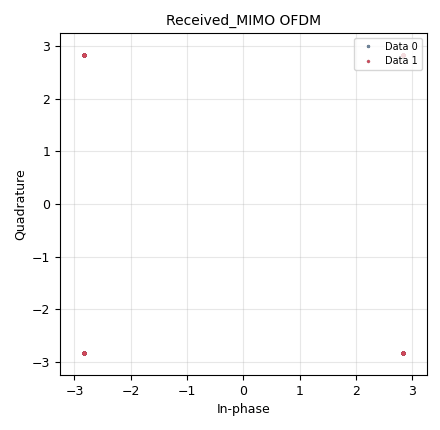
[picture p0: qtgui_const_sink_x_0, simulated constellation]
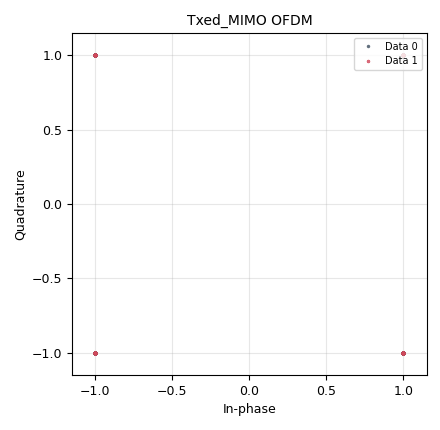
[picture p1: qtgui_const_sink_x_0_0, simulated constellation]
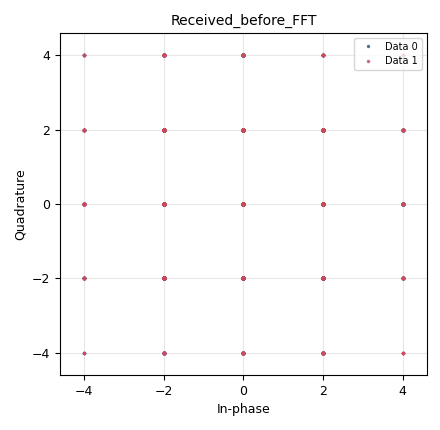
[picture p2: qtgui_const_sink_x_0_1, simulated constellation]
options:
  parameters:
    author: nidhi
    generate_options: qt_gui
    id: MIMO_2x2OFDM_svd
    output_language: python
    title: MIMO_2x2OFDM_svd
  states: {}

blocks:
- name: Nc
  id: variable
  parameters:
    value: '2'
  states: {}
- name: samp_rate
  id: variable
  parameters:
    value: '32000'
  states: {}
- name: analog_random_source_x_0
  id: analog_random_source_x
  parameters:
    max: '4'
    min: '0'
    num_samps: '1000'
    repeat: 'True'
    type: int
  states: {}
- name: blocks_add_xx_0
  id: blocks_add_xx
  parameters:
    type: complex
  states: {}
- name: blocks_add_xx_0_0
  id: blocks_add_xx
  parameters:
    type: complex
  states: {}
- name: blocks_deinterleave_0
  id: blocks_deinterleave
  parameters:
    type: complex
  states: {}
- name: blocks_multiply_const_vxx_0
  id: blocks_multiply_const_vxx
  parameters:
    const: '1'
    type: complex
  states: {}
- name: blocks_multiply_const_vxx_0_0
  id: blocks_multiply_const_vxx
  parameters:
    const: '1'
    type: complex
  states: {}
- name: blocks_multiply_const_vxx_0_0_0
  id: blocks_multiply_const_vxx
  parameters:
    const: '-1'
    type: complex
  states: {}
- name: blocks_multiply_const_vxx_0_0_0_0
  id: blocks_multiply_const_vxx
  parameters:
    const: '1'
    type: complex
  states: {}
- name: blocks_multiply_matrix_xx_0_0
  id: blocks_multiply_matrix_xx
  parameters:
    A: ((-1,0),(0,-1))
    tag_propagation_policy: gr.TPP_ALL_TO_ALL
    type: complex
  states: {}
- name: blocks_multiply_matrix_xx_1_0
  id: blocks_multiply_matrix_xx
  parameters:
    A: ((-0.707,-0.707), (-0.707, 0.707))
    tag_propagation_policy: gr.TPP_ALL_TO_ALL
    type: complex
  states: {}
- name: blocks_multiply_matrix_xx_2
  id: blocks_multiply_matrix_xx
  parameters:
    A: ((1/1.414, 0), (0, 1/1.414))
    tag_propagation_policy: gr.TPP_ALL_TO_ALL
    type: complex
  states: {state: disabled}
- name: blocks_stream_to_vector_0
  id: blocks_stream_to_vector
  parameters:
    type: complex
  states: {}
- name: blocks_stream_to_vector_1
  id: blocks_stream_to_vector
  parameters:
    type: complex
  states: {}
- name: blocks_stream_to_vector_2
  id: blocks_stream_to_vector
  parameters:
    type: complex
  states: {}
- name: blocks_stream_to_vector_3
  id: blocks_stream_to_vector
  parameters:
    type: complex
  states: {}
- name: blocks_vector_to_stream_0
  id: blocks_vector_to_stream
  parameters:
    type: complex
  states: {}
- name: blocks_vector_to_stream_1
  id: blocks_vector_to_stream
  parameters:
    type: complex
  states: {}
- name: blocks_vector_to_stream_2
  id: blocks_vector_to_stream
  parameters:
    type: complex
  states: {}
- name: blocks_vector_to_stream_3
  id: blocks_vector_to_stream
  parameters:
    type: complex
  states: {}
- name: digital_chunks_to_symbols_xx_0
  id: digital_chunks_to_symbols_xx
  parameters:
    dimension: '1'
    in_type: int
    out_type: complex
    symbol_table: (1+1j,-1+1j,-1-1j,1-1j)
  states: {}
- name: fft_vxx_0
  id: fft_vxx
  parameters:
    fft_size: '2'
    forward: 'False'
    shift: 'True'
    type: complex
    window: window.rectangular(2)
  states: {}
- name: fft_vxx_0_0
  id: fft_vxx
  parameters:
    fft_size: '2'
    forward: 'False'
    shift: 'True'
    type: complex
    window: window.rectangular(2)
  states: {}
- name: fft_vxx_1
  id: fft_vxx
  parameters:
    fft_size: '2'
    forward: 'True'
    shift: 'True'
    type: complex
    window: window.rectangular(2)
  states: {}
- name: fft_vxx_2
  id: fft_vxx
  parameters:
    fft_size: '2'
    forward: 'True'
    shift: 'True'
    type: complex
    window: window.rectangular(2)
  states: {}
- name: import_0
  id: import
  parameters:
    imports: import numpy as np
  states: {}
- name: qtgui_const_sink_x_0
  id: qtgui_const_sink_x
  parameters:
    autoscale: 'True'
    grid: 'True'
    name: '"Received_MIMO OFDM"'
    nconnections: '2'
    size: '1024'
    type: complex
  states: {}
- name: qtgui_const_sink_x_0_0
  id: qtgui_const_sink_x
  parameters:
    autoscale: 'True'
    grid: 'True'
    name: '"Txed_MIMO OFDM"'
    nconnections: '2'
    size: '1024'
    type: complex
  states: {}
- name: qtgui_const_sink_x_0_1
  id: qtgui_const_sink_x
  parameters:
    autoscale: 'True'
    grid: 'True'
    name: '"Received_before_FFT"'
    nconnections: '2'
    size: '1024'
    type: complex
  states: {}
- name: svd_n
  id: epy_module
  parameters:
    source_code: |
      # this module will be imported in the into your flowgraph
      import numpy as np
      from scipy.linalg import svd
      h = np.zeros((16,16))
      for i in range (0,16):
      	for j in range(0,16):
      		if((i+j)%8 == 2):
      			h[i,j] = 1
      for i in range (0,16):
      	for j in range(0,16):
      		if((i+j)%8 == 1):
      			h[i,j] = 1

      for i in range (8,16):
      	for j in range(8,16):
      		if((i+j)%8 == 1):
      			h[i,j] = -1
      U,s,V = svd(h) 
      UT = np.transpose(U);
      a=UT.tolist();
      b=V.tolist();
  states: {}

connections:
- [analog_random_source_x_0, '0', digital_chunks_to_symbols_xx_0, '0']
- [blocks_add_xx_0, '0', blocks_stream_to_vector_2, '0']
- [blocks_add_xx_0, '0', qtgui_const_sink_x_0_1, '0']
- [blocks_add_xx_0_0, '0', blocks_stream_to_vector_3, '0']
- [blocks_add_xx_0_0, '0', qtgui_const_sink_x_0_1, '1']
- [blocks_deinterleave_0, '0', blocks_multiply_matrix_xx_0_0, '0']
- [blocks_deinterleave_0, '0', qtgui_const_sink_x_0_0, '0']
- [blocks_deinterleave_0, '1', blocks_multiply_matrix_xx_0_0, '1']
- [blocks_deinterleave_0, '1', qtgui_const_sink_x_0_0, '1']
- [blocks_multiply_const_vxx_0, '0', blocks_add_xx_0, '0']
- [blocks_multiply_const_vxx_0_0, '0', blocks_add_xx_0, '1']
- [blocks_multiply_const_vxx_0_0_0, '0', blocks_add_xx_0_0, '1']
- [blocks_multiply_const_vxx_0_0_0_0, '0', blocks_add_xx_0_0, '0']
- [blocks_multiply_matrix_xx_0_0, '0', blocks_stream_to_vector_0, '0']
- [blocks_multiply_matrix_xx_0_0, '1', blocks_stream_to_vector_1, '0']
- [blocks_multiply_matrix_xx_1_0, '0', blocks_multiply_matrix_xx_2, '0']
- [blocks_multiply_matrix_xx_1_0, '0', qtgui_const_sink_x_0, '0']
- [blocks_multiply_matrix_xx_1_0, '1', blocks_multiply_matrix_xx_2, '1']
- [blocks_multiply_matrix_xx_1_0, '1', qtgui_const_sink_x_0, '1']
- [blocks_multiply_matrix_xx_2, '0', qtgui_const_sink_x_0, '0']
- [blocks_multiply_matrix_xx_2, '1', qtgui_const_sink_x_0, '1']
- [blocks_stream_to_vector_0, '0', fft_vxx_0, '0']
- [blocks_stream_to_vector_1, '0', fft_vxx_0_0, '0']
- [blocks_stream_to_vector_2, '0', fft_vxx_1, '0']
- [blocks_stream_to_vector_3, '0', fft_vxx_2, '0']
- [blocks_vector_to_stream_0, '0', blocks_multiply_const_vxx_0, '0']
- [blocks_vector_to_stream_0, '0', blocks_multiply_const_vxx_0_0_0_0, '0']
- [blocks_vector_to_stream_1, '0', blocks_multiply_const_vxx_0_0, '0']
- [blocks_vector_to_stream_1, '0', blocks_multiply_const_vxx_0_0_0, '0']
- [blocks_vector_to_stream_2, '0', blocks_multiply_matrix_xx_1_0, '0']
- [blocks_vector_to_stream_3, '0', blocks_multiply_matrix_xx_1_0, '1']
- [digital_chunks_to_symbols_xx_0, '0', blocks_deinterleave_0, '0']
- [fft_vxx_0, '0', blocks_vector_to_stream_0, '0']
- [fft_vxx_0_0, '0', blocks_vector_to_stream_1, '0']
- [fft_vxx_1, '0', blocks_vector_to_stream_2, '0']
- [fft_vxx_2, '0', blocks_vector_to_stream_3, '0']

metadata:
  file_format: 1
